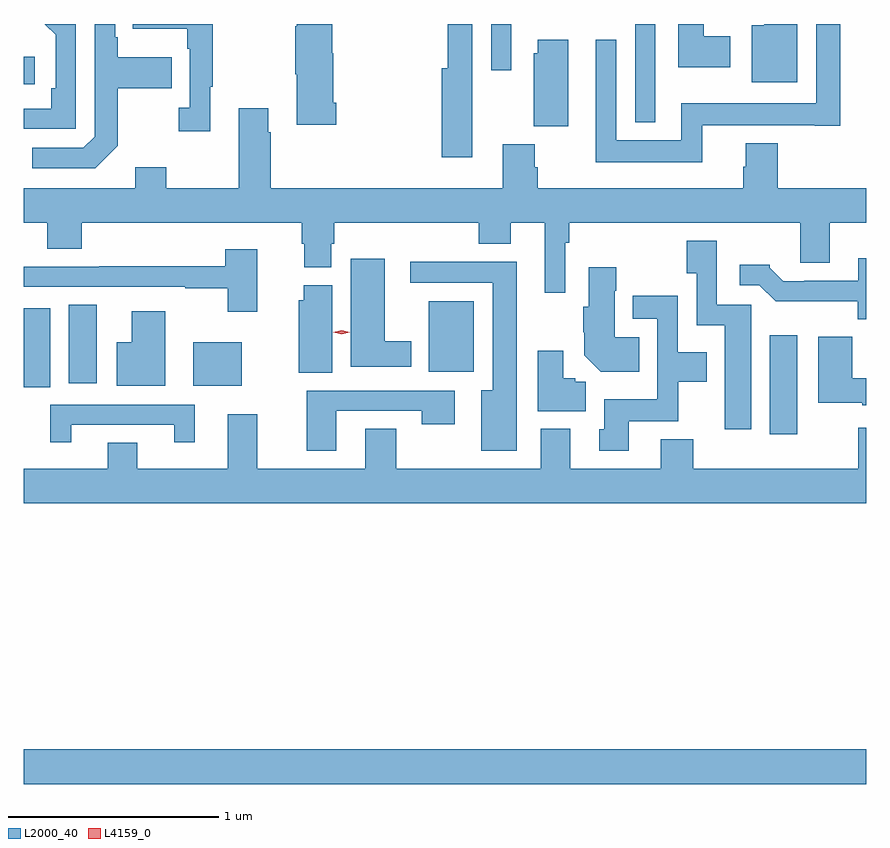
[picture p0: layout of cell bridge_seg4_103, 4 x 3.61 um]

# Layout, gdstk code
import gdstk
lib = gdstk.Library(unit=1e-6, precision=1e-09)
def R(c, l, rs):  # rectangles x0, y0, x1, y1
    for r in rs: c.add(gdstk.rectangle(r[:2], r[2:], *l))
def P(c, l, *ps):  # polygons
    for p in ps: c.add(gdstk.Polygon(p, *l))
L2000_40 = (2000, 40)
L4159_0 = (4159, 0)

bridge_seg4_103 = lib.new_cell('bridge_seg4_103')
R(bridge_seg4_103, L2000_40, [(554.086,783.5,558.086,783.664), (557.627,785.16,557.758,785.629), (554.086,785.382,554.212,785.758), (554.891,785.39,555.121,785.596), (554.3,785.403,554.434,785.774), (556.01,785.456,556.222,785.791), (556.989,786.641,557.085,787.107), (554.086,786.822,554.14,786.952), (556.305,786.888,556.401,787.107)])
P(bridge_seg4_103, L2000_40, [(556.216,786.794),(556.215,786.794),(556.215,787.107),(556.099,787.107),(556.099,786.898),(556.07,786.898),(556.07,786.474),(556.216,786.474)],
  [(555.569,786.733),(555.556,786.733),(555.556,786.969),(555.551,786.969),(555.551,787.107),(555.383,787.107),(555.383,787.097),(555.376,787.097),(555.376,786.869),(555.383,786.869),(555.383,786.629),(555.569,786.629)],
  [(557.306,786.626),(557.84,786.626),(557.84,786.624),(557.963,786.624),(557.963,787.107),(557.847,787.107),(557.847,786.73),(557.208,786.73),(557.208,786.556),(556.899,786.556),(556.899,787.033),(556.802,787.033),(556.802,786.452),(557.306,786.452)],
  [(554.334,787.107),(554.187,787.107),(554.238,787.056),(554.238,786.802),(554.218,786.802),(554.218,786.705),(554.086,786.705),(554.086,786.609),(554.334,786.609)],
  [(557.758,787.107),(557.6,787.107),(557.6,787.102),(557.543,787.102),(557.543,786.83),(557.758,786.83)],
  [(557.44,787.05),(557.314,787.05),(557.314,787.107),(557.192,787.107),(557.192,786.902),(557.44,786.902)],
  [(554.533,786.529),(554.533,786.802),(554.789,786.802),(554.789,786.949),(554.533,786.949),(554.533,787.045),(554.52,787.045),(554.52,787.107),(554.424,787.107),(554.424,786.573),(554.37,786.519),(554.127,786.519),(554.127,786.423),(554.427,786.423)],
  [(554.971,786.809),(554.983,786.809),(554.983,787.107),(554.605,787.107),(554.605,787.085),(554.862,787.085),(554.862,786.989),(554.874,786.989),(554.874,786.71),(554.823,786.71),(554.823,786.597),(554.971,786.597)],
  [(556.672,787.033),(556.526,787.033),(556.526,786.969),(556.508,786.969),(556.508,786.622),(556.672,786.622)],
  [(556.656,786.068),(556.676,786.068),(556.676,786.164),(557.771,786.164),(557.771,785.974),(557.911,785.974),(557.911,786.164),(558.086,786.164),(558.086,786.328),(557.666,786.328),(557.666,786.541),(557.513,786.541),(557.513,786.429),(557.501,786.429),(557.501,786.328),(556.526,786.328),(556.526,786.428),(556.513,786.428),(556.513,786.537),(556.361,786.537),(556.361,786.328),(555.26,786.328),(555.26,786.593),(555.247,786.593),(555.247,786.706),(555.107,786.706),(555.107,786.328),(554.763,786.328),(554.763,786.427),(554.615,786.427),(554.615,786.328),(554.086,786.328),(554.086,786.164),(554.198,786.164),(554.198,786.04),(554.363,786.04),(554.363,786.164),(555.407,786.164),(555.407,786.063),(555.419,786.063),(555.419,785.953),(555.547,785.953),(555.547,786.063),(555.56,786.063),(555.56,786.164),(556.247,786.164),(556.247,786.065),(556.399,786.065),(556.399,786.164),(556.559,786.164),(556.559,785.832),(556.656,785.832)],
  [(557.539,785.775),(557.376,785.775),(557.376,786.079),(557.233,786.079),(557.233,785.923),(557.28,785.923),(557.28,785.678),(557.414,785.678),(557.414,785.184),(557.539,785.184)],
  [(555.196,786.037),(555.044,786.037),(555.044,785.957),(554.446,785.957),(554.446,785.955),(554.086,785.955),(554.086,785.859),(554.854,785.859),(554.854,785.854),(555.056,785.854),(555.056,785.742),(555.196,785.742)],
  [(558.086,785.995),(558.047,785.995),(558.047,785.889),(557.791,785.889),(557.791,785.886),(557.692,785.886),(557.628,785.95),(557.628,785.965),(557.484,785.965),(557.484,785.868),(557.577,785.868),(557.656,785.79),(558.045,785.79),(558.045,785.705),(558.086,785.705)],
  [(555.925,785.602),(555.799,785.602),(555.799,785.992),(555.638,785.992),(555.638,785.48),(555.925,785.48)],
  [(556.426,785.978),(555.921,785.978),(555.921,785.88),(556.313,785.88),(556.313,785.368),(556.259,785.368),(556.259,785.082),(556.426,785.082)],
  [(557.009,785.62),(556.891,785.62),(556.891,785.84),(556.899,785.84),(556.899,785.953),(556.769,785.953),(556.769,785.766),(556.741,785.766),(556.741,785.644),(556.748,785.644),(556.748,785.534),(556.826,785.456),(557.009,785.456)],
  [(555.55,785.868),(555.416,785.868),(555.416,785.796),(555.392,785.796),(555.392,785.452),(555.55,785.452)],
  [(556.957,785.222),(557.193,785.222),(557.193,785.408),(557.329,785.408),(557.329,785.548),(557.19,785.548),(557.19,785.818),(556.977,785.818),(556.977,785.709),(557.094,785.709),(557.094,785.326),(556.841,785.326),(556.841,785.184),(556.817,785.184),(556.817,785.082),(556.957,785.082)],
  [(554.758,785.743),(554.6,785.743),(554.6,785.596),(554.528,785.596),(554.528,785.39),(554.758,785.39)],
  [(558.086,785.426),(558.02,785.426),(558.02,785.623),(557.858,785.623),(557.858,785.309),(558.066,785.309),(558.066,785.298),(558.086,785.298)],
  [(556.753,785.408),(556.704,785.408),(556.704,785.426),(556.648,785.426),(556.648,785.557),(556.526,785.557),(556.526,785.27),(556.753,785.27)],
  [(555.571,785.271),(555.976,785.271),(555.976,785.208),(556.132,785.208),(556.132,785.367),(555.431,785.367),(555.431,785.082),(555.571,785.082)],
  [(554.311,785.205),(554.801,785.205),(554.801,785.121),(554.899,785.121),(554.899,785.301),(554.213,785.301),(554.213,785.121),(554.311,785.121)],
  [(558.086,785.191),(558.047,785.191),(558.047,784.996),(557.264,784.996),(557.264,785.137),(557.111,785.137),(557.111,784.996),(556.681,784.996),(556.681,785.185),(556.541,785.185),(556.541,784.996),(555.855,784.996),(555.855,785.186),(555.707,785.186),(555.707,784.996),(555.196,784.996),(555.196,785.254),(555.056,785.254),(555.056,784.996),(554.626,784.996),(554.626,785.12),(554.486,785.12),(554.486,784.996),(554.086,784.996),(554.086,784.832),(558.086,784.832)])
P(bridge_seg4_103, L4159_0, [(555.595,785.634),(555.555,785.643),(555.555,785.644),(555.555,785.644),(555.595,785.654),(555.634,785.644),(555.635,785.644),(555.634,785.643)])

lib.write_gds('bridge_seg4_103.gds')
